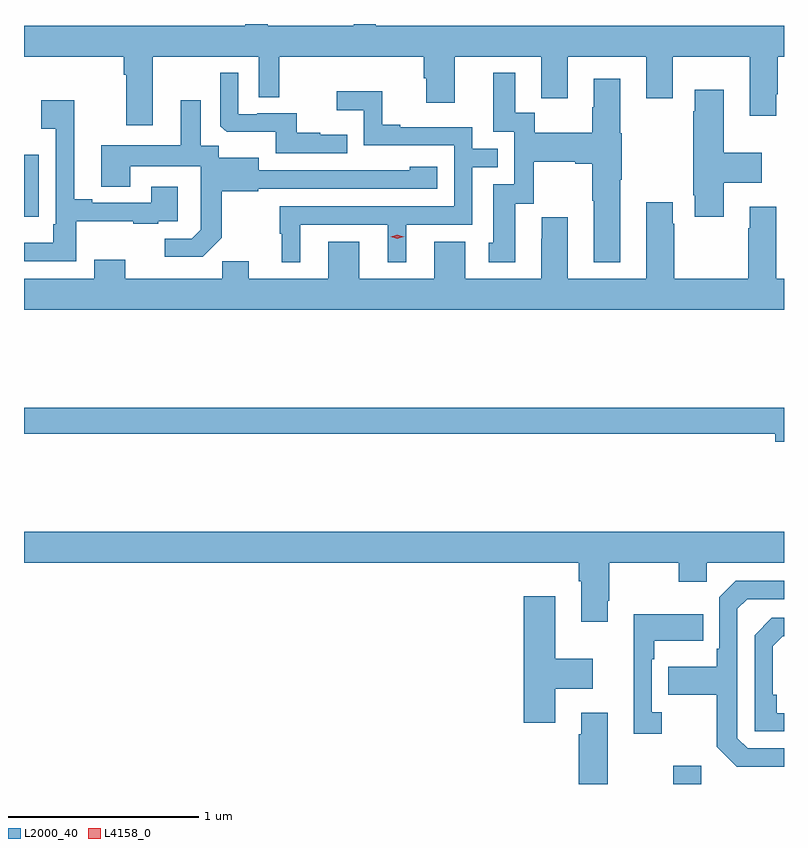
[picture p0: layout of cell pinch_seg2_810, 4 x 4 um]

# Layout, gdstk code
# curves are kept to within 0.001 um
import gdstk
lib = gdstk.Library(unit=1e-6, precision=1e-09)
def R(c, l, rs):  # rectangles x0, y0, x1, y1
    for r in rs: c.add(gdstk.rectangle(r[:2], r[2:], *l))
def P(c, l, *ps):  # polygons
    for p in ps: c.add(gdstk.Polygon(p, *l))
L2000_40 = (2000, 40)
L4158_0 = (4158, 0)

pinch_seg2_810 = lib.new_cell('pinch_seg2_810')
R(pinch_seg2_810, L2000_40, [(727.576,607.844,727.723,607.939), (724.159,610.829,724.236,611.155)])
P(pinch_seg2_810, L2000_40, [(724.837,611.672),(725.394,611.672),(725.394,611.458),(725.503,611.458),(725.503,611.672),(726.263,611.672),(726.263,611.559),(726.275,611.559),(726.275,611.43),(726.427,611.43),(726.427,611.672),(726.881,611.672),(726.881,611.454),(727.021,611.454),(727.021,611.672),(727.433,611.672),(727.433,611.454),(727.573,611.454),(727.573,611.672),(727.979,611.672),(727.979,611.361),(728.119,611.361),(728.119,611.473),(728.127,611.473),(728.127,611.672),(728.159,611.672),(728.159,611.836),(726.011,611.836),(726.011,611.844),(725.894,611.844),(725.894,611.836),(725.441,611.836),(725.441,611.844),(725.323,611.844),(725.323,611.836),(724.159,611.836),(724.159,611.672),(724.685,611.672),(724.685,611.576),(724.697,611.576),(724.697,611.31),(724.837,611.31)],
  [(727.297,611.024),(727.305,611.024),(727.305,611.268),(727.297,611.268),(727.297,611.557),(727.157,611.557),(727.157,611.406),(727.15,611.406),(727.15,611.272),(726.847,611.272),(726.847,611.378),(726.745,611.378),(726.745,611.587),(726.629,611.587),(726.629,611.277),(726.738,611.277),(726.738,611.001),(726.629,611.001),(726.629,610.692),(726.605,610.692),(726.605,610.59),(726.745,610.59),(726.745,610.898),(726.843,610.898),(726.843,611.12),(727.061,611.12),(727.061,611.108),(727.15,611.108),(727.15,610.915),(727.157,610.915),(727.157,610.589),(727.297,610.589)],
  [(725.861,611.26),(725.717,611.26),(725.717,611.272),(725.594,611.272),(725.594,611.373),(725.386,611.373),(725.386,611.37),(725.286,611.37),(725.286,611.587),(725.193,611.587),(725.193,611.307),(725.225,611.276),(725.484,611.276),(725.484,611.163),(725.861,611.163)],
  [(727.843,611.009),(728.041,611.009),(728.041,611.167),(727.843,611.167),(727.843,611.497),(727.688,611.497),(727.688,611.384),(727.681,611.384),(727.681,610.942),(727.688,610.942),(727.688,610.83),(727.843,610.83)],
  [(725.614,610.788),(726.074,610.788),(726.074,610.589),(726.172,610.589),(726.172,610.788),(726.519,610.788),(726.519,611.091),(726.653,611.091),(726.653,611.187),(726.519,611.187),(726.519,611.301),(726.139,611.301),(726.139,611.314),(726.045,611.314),(726.045,611.489),(725.805,611.489),(725.805,611.39),(725.946,611.39),(725.946,611.205),(726.423,611.205),(726.423,610.884),(725.505,610.884),(725.505,610.74),(725.516,610.74),(725.516,610.589),(725.614,610.589)],
  [(725.199,610.719),(725.199,610.965),(725.391,610.965),(725.391,610.977),(726.334,610.977),(726.334,611.092),(726.189,611.092),(726.189,611.074),(725.395,611.073),(725.395,611.14),(725.184,611.14),(725.184,611.204),(725.089,611.204),(725.089,611.443),(724.985,611.443),(724.985,611.206),(724.565,611.206),(724.565,610.987),(724.717,610.987),(724.717,611.096),(725.088,611.096),(725.088,610.855),(725.09,610.855),(725.09,610.76),(725.043,610.713),(724.899,610.713),(724.899,610.619),(725.099,610.619)],
  [(724.435,610.805),(724.733,610.805),(724.733,610.794),(724.865,610.794),(724.865,610.806),(724.969,610.806),(724.969,610.987),(724.829,610.987),(724.829,610.902),(724.519,610.902),(724.519,610.921),(724.423,610.921),(724.423,611.443),(724.251,611.443),(724.251,611.294),(724.326,611.294),(724.326,610.789),(724.314,610.789),(724.314,610.693),(724.159,610.693),(724.159,610.596),(724.435,610.596)],
  [(728.159,610.504),(728.119,610.504),(728.119,610.882),(727.979,610.882),(727.979,610.769),(727.972,610.769),(727.972,610.504),(727.581,610.504),(727.581,610.793),(727.573,610.793),(727.573,610.906),(727.433,610.906),(727.433,610.504),(727.021,610.504),(727.021,610.828),(726.884,610.828),(726.884,610.715),(726.881,610.715),(726.881,610.504),(726.481,610.504),(726.481,610.699),(726.317,610.699),(726.317,610.504),(725.923,610.504),(725.923,610.699),(725.759,610.699),(725.759,610.504),(725.341,610.504),(725.341,610.595),(725.203,610.595),(725.203,610.504),(724.693,610.504),(724.693,610.603),(724.529,610.603),(724.529,610.504),(724.159,610.504),(724.159,610.34),(728.159,610.34)],
  [(728.159,609.824),(724.159,609.824),(724.159,609.688),(728.114,609.688),(728.114,609.646),(728.159,609.646)],
  [(727.231,608.809),(727.239,608.809),(727.239,609.008),(727.606,609.008),(727.606,608.909),(727.752,608.909),(727.752,609.008),(728.159,609.008),(728.159,609.172),(724.159,609.172),(724.159,609.008),(727.079,609.008),(727.079,608.912),(727.091,608.912),(727.091,608.697),(727.231,608.697)],
  [(728.159,608.031),(727.968,608.031),(727.914,608.085),(727.914,608.766),(727.965,608.817),(728.159,608.817),(728.159,608.913),(727.905,608.913),(727.818,608.826),(727.818,608.557),(727.806,608.557),(727.806,608.461),(727.549,608.461),(727.549,608.314),(727.806,608.314),(727.806,608.041),(727.911,607.935),(728.159,607.935)],
  [(726.955,608.345),(727.153,608.345),(727.153,608.503),(726.955,608.503),(726.955,608.833),(726.788,608.833),(726.788,608.166),(726.955,608.166)],
  [(727.516,608.222),(727.464,608.222),(727.464,608.501),(727.477,608.501),(727.477,608.597),(727.733,608.597),(727.733,608.737),(727.367,608.737),(727.367,608.109),(727.516,608.109)],
  [(728.159,608.217),(728.12,608.217),(728.12,608.314),(728.1,608.314),(728.1,608.568),(728.153,608.621),(728.159,608.621),(728.159,608.718),(728.094,608.718),(728.004,608.628),(728.004,608.121),(728.159,608.121)],
  [(727.231,608.218),(727.091,608.218),(727.091,608.105),(727.079,608.105),(727.079,607.844),(727.231,607.844)])
P(pinch_seg2_810, L4158_0, [(726.123,610.715),(726.088,610.725),(726.087,610.725),(726.088,610.725),(726.123,610.735),(726.158,610.725),(726.159,610.725),(726.158,610.725)])

lib.write_gds('pinch_seg2_810.gds')
